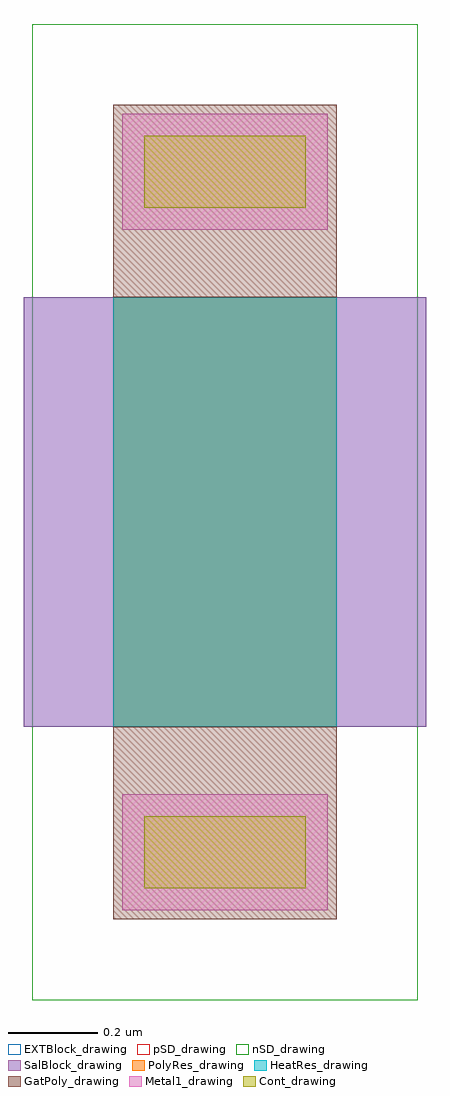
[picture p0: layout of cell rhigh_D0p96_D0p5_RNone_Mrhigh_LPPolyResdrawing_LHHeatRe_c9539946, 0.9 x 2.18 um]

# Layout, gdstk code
import gdstk
lib = gdstk.Library(unit=1e-6, precision=1e-09)
def R(c, l, rs):  # rectangles x0, y0, x1, y1
    for r in rs: c.add(gdstk.rectangle(r[:2], r[2:], *l))
GatPoly_drawing = (5, 0)
Cont_drawing = (6, 0)
nSD_drawing = (7, 0)
Metal1_drawing = (8, 0)
pSD_drawing = (14, 0)
SalBlock_drawing = (28, 0)
HeatRes_drawing = (52, 0)
EXTBlock_drawing = (111, 0)
PolyRes_drawing = (128, 0)

rectangle_gdsfactorypcom = lib.new_cell('rectangle_gdsfactorypcomponentspshapesprectangle_S0p5_0_2ac947e4')
R(rectangle_gdsfactorypcom, PolyRes_drawing, [(0,0,0.5,0.96)])

c_rectangle_gdsfactorypcom = lib.new_cell('rectangle_gdsfactorypcomponentspshapesprectangle_S0p5_0_e409e79b')
R(c_rectangle_gdsfactorypcom, HeatRes_drawing, [(0,0,0.5,0.96)])

c_rectangle_gdsfactorypcom_ = lib.new_cell('rectangle_gdsfactorypcomponentspshapesprectangle_S0p5_0_0861799f')
R(c_rectangle_gdsfactorypcom_, GatPoly_drawing, [(0,0,0.5,0.43)])

c_rectangle_gdsfactorypcom__ = lib.new_cell('rectangle_gdsfactorypcomponentspshapesprectangle_S0p36__cc771b56')
R(c_rectangle_gdsfactorypcom__, Cont_drawing, [(0,0,0.36,0.16)])

c_rectangle_gdsfactorypcom___ = lib.new_cell('rectangle_gdsfactorypcomponentspshapesprectangle_S0p46__c5e398a1')
R(c_rectangle_gdsfactorypcom___, Metal1_drawing, [(0,0,0.46,0.26)])

c_rectangle_gdsfactorypcom____ = lib.new_cell('rectangle_gdsfactorypcomponentspshapesprectangle_S0p86__16bf438a')
R(c_rectangle_gdsfactorypcom____, EXTBlock_drawing, [(0,0,0.86,2.18)])

c_rectangle_gdsfactorypcom_____ = lib.new_cell('rectangle_gdsfactorypcomponentspshapesprectangle_S0p86__3ae95b40')
R(c_rectangle_gdsfactorypcom_____, pSD_drawing, [(0,0,0.86,2.18)])

c_rectangle_gdsfactorypcom______ = lib.new_cell('rectangle_gdsfactorypcomponentspshapesprectangle_S0p86__4992bb38')
R(c_rectangle_gdsfactorypcom______, nSD_drawing, [(0,0,0.86,2.18)])

c_rectangle_gdsfactorypcom_______ = lib.new_cell('rectangle_gdsfactorypcomponentspshapesprectangle_S0p9_0_70bec09f')
R(c_rectangle_gdsfactorypcom_______, EXTBlock_drawing, [(0,0,0.9,0.96)])

c_rectangle_gdsfactorypcom________ = lib.new_cell('rectangle_gdsfactorypcomponentspshapesprectangle_S0p9_0_30eb1728')
R(c_rectangle_gdsfactorypcom________, SalBlock_drawing, [(0,0,0.9,0.96)])

rhigh_d0p96_d0p5_rnone_m = lib.new_cell('rhigh_D0p96_D0p5_RNone_Mrhigh_LPPolyResdrawing_LHHeatRe_c9539946')
rhigh_d0p96_d0p5_rnone_m.add(gdstk.Reference(rectangle_gdsfactorypcom, (0,0)))
rhigh_d0p96_d0p5_rnone_m.add(gdstk.Reference(c_rectangle_gdsfactorypcom, (0,0)))
rhigh_d0p96_d0p5_rnone_m.add(gdstk.Reference(c_rectangle_gdsfactorypcom_, (0,0.96)))
rhigh_d0p96_d0p5_rnone_m.add(gdstk.Reference(c_rectangle_gdsfactorypcom_, (0,-0.43)))
rhigh_d0p96_d0p5_rnone_m.add(gdstk.Reference(c_rectangle_gdsfactorypcom__, (0.07,1.16)))
rhigh_d0p96_d0p5_rnone_m.add(gdstk.Reference(c_rectangle_gdsfactorypcom__, (0.07,-0.36)))
rhigh_d0p96_d0p5_rnone_m.add(gdstk.Reference(c_rectangle_gdsfactorypcom___, (0.02,1.11)))
rhigh_d0p96_d0p5_rnone_m.add(gdstk.Reference(c_rectangle_gdsfactorypcom___, (0.02,-0.41)))
rhigh_d0p96_d0p5_rnone_m.add(gdstk.Reference(c_rectangle_gdsfactorypcom____, (-0.18,-0.61)))
rhigh_d0p96_d0p5_rnone_m.add(gdstk.Reference(c_rectangle_gdsfactorypcom_____, (-0.18,-0.61)))
rhigh_d0p96_d0p5_rnone_m.add(gdstk.Reference(c_rectangle_gdsfactorypcom______, (-0.18,-0.61)))
rhigh_d0p96_d0p5_rnone_m.add(gdstk.Reference(c_rectangle_gdsfactorypcom_______, (-0.2,0)))
rhigh_d0p96_d0p5_rnone_m.add(gdstk.Reference(c_rectangle_gdsfactorypcom________, (-0.2,0)))

lib.write_gds('rhigh_D0p96_D0p5_RNone_Mrhigh_LPPolyResdrawing_LHHeatRe_c9539946.gds')
